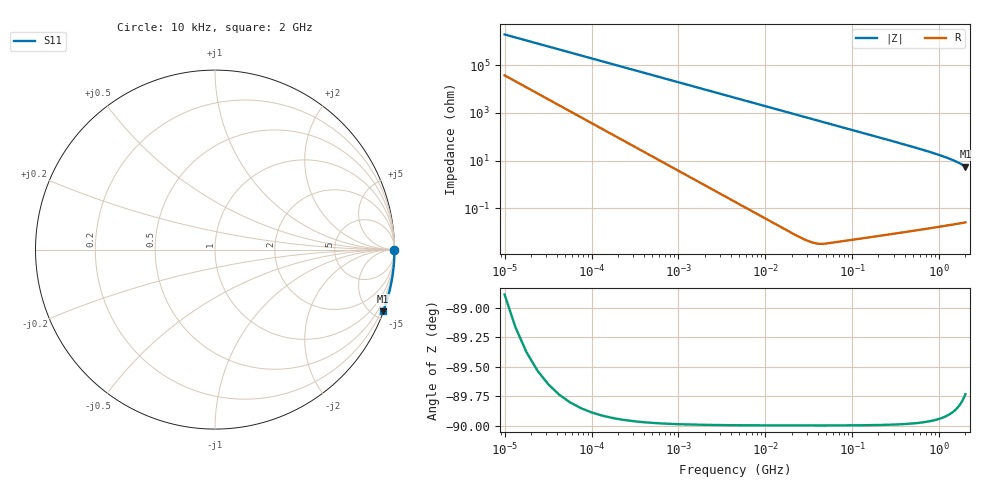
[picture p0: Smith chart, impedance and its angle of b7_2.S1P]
!Generated from: C:\Users\nkfzm\OneDrive - University of Missouri\Desktop\Research\PowerSI\Board 7\b7_2.spd
! Port1_ic_port_1::pwr
!Layout Workbench Version: 24.1.0.10141.541387  000
!Computer Host Name: RS29JQCX3
!TouchstoneFormatFlag = 1
! GNDNET gnd
! NETSLIST
#	Hz	Z	RI	R	1
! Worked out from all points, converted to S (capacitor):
!   585 points, 10 kHz to 2 GHz, reference 1 ohm
!   read as one part to ground: C = 8.2 pF near 17.78 kHz
!   lowest |Z| = 5.64 ohm at 2 GHz (marker M1)
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10000  3.762e+04 -1.939e+06
2.52e8  0.00796 -76.48
3.96e8  0.0102 -48.2
5.05e8  0.0116 -37.41
6.3e8  0.0132 -29.54
7.55e8  0.0146 -24.19
8.85e8  0.0159 -20.15
1.005e9  0.0172 -17.3
1.07e9  0.0178 -15.99
1.135e9  0.0184 -14.82
1.195e9  0.019 -13.84
1.255e9  0.0196 -12.94
1.32e9  0.0202 -12.05
1.385e9  0.0208 -11.23
1.445e9  0.0213 -10.52
1.505e9  0.0219 -9.866
1.57e9  0.0224 -9.198
1.635e9  0.023 -8.572
1.695e9  0.0235 -8.028
1.755e9  0.0241 -7.512
1.815e9  0.0246 -7.021
1.845e9  0.0248 -6.784
1.875e9  0.0251 -6.553
1.905e9  0.0254 -6.327
1.935e9  0.0256 -6.106
1.965e9  0.0259 -5.889
1.99e9  0.0261 -5.712
2e9  0.0262 -5.642
